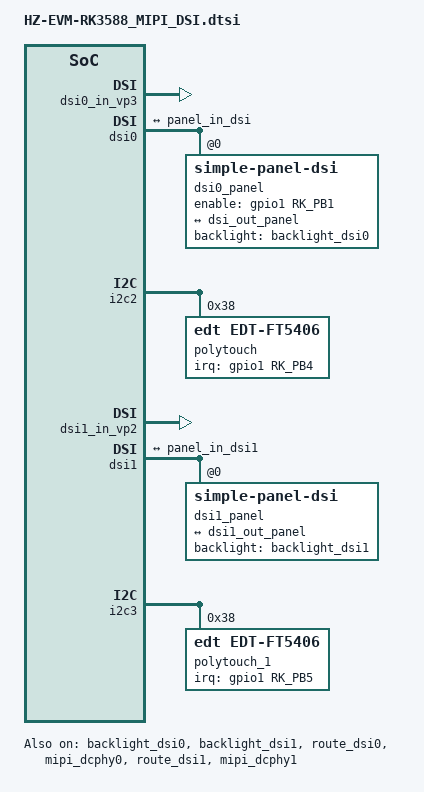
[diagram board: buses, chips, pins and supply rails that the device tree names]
// SPDX-License-Identifier: (GPL-2.0+ OR MIT)
/*
 * Copyright (c) 2024 Rockchip Electronics Co., Ltd.
 *
 */

/* 背光配置 */
&backlight_dsi0 {
	pwms = <&pwm0 0 20000 0>;
	status = "okay";
};

&backlight_dsi1 {
	pwms = <&pwm11 0 20000 0>;
	status = "okay";
};

/* MIPI DSI0 */
&route_dsi0{
	connect = <&vp3_out_dsi0>;
	status = "okay";
};

&dsi0_in_vp2 {
	status = "disabled";
};

&dsi0_in_vp3 {
	status = "okay";
};

&mipi_dcphy0{
	status = "okay";
};

&dsi0 {
	status = "okay";
	dsi0_panel: panel@0 {
		status = "okay";
		compatible = "simple-panel-dsi";
		reg = <0>;
		reset-delay-ms = <60>;
		enable-delay-ms = <60>;
		prepare-delay-ms = <60>;
		unprepare-delay-ms = <60>;
		disable-delay-ms = <60>;
		dsi,flags = <(MIPI_DSI_MODE_VIDEO | MIPI_DSI_MODE_VIDEO_BURST | 
			MIPI_DSI_MODE_LPM | MIPI_DSI_MODE_NO_EOT_PACKET)>;
		dsi,format = <MIPI_DSI_FMT_RGB888>;
		dsi,lanes  = <4>;
		panel-init-sequence = [
		];
		panel-exit-sequence = [
		];
		panel-width-mm = <68>;
		panel-height-mm = <121>;
		backlight = <&backlight_dsi0>;
		enable-gpios = <&gpio1 RK_PB1 GPIO_ACTIVE_HIGH>;

		display-timings {
			native-mode = <&panel_0_1024x600>;
			panel_0_1024x600: timings {
				hback-porch     = <48>;
				hfront-porch    = <40>;
				hactive			= <1024>;
				hsync-len		= <48>;
				vback-porch     = <48>;
				vfront-porch    = <40>;
				vactive         = <600>;
				vsync-len       = <4>;
				clock-frequency = <45000000>;
				vsync-active    = <0>;
				hsync-active    = <0>;
				de-active       = <0>;
				pixelclk-active = <0>;
			};
		};

		ports {
			#address-cells = <1>;
			#size-cells = <0>;
			port@0 {
				reg = <0>;
				panel_in_dsi: endpoint {
					remote-endpoint = <&dsi_out_panel>;
				};
			};
		};
	};

	ports {
		#address-cells = <1>;
		#size-cells = <0>;
		port@1 {
			reg = <1>;
			dsi_out_panel: endpoint {
				remote-endpoint = <&panel_in_dsi>;
			};
		};
	};
};

/* DSI0 触摸屏 */
&i2c2 {
	status = "okay";
	pinctrl-names = "default";
	pinctrl-0 = <&i2c2m4_xfer>;

	polytouch: edt-ft5x06@38{
		compatible = "edt,edt-ft5406", "edt,edt-ft5x06";
		reg = <0x38>;
		pinctrl-names = "defaults";
		pinctrl-0 = <&ft5406_1_pins>;
		interrupt-parent = <&gpio1>;
		interrupts = <RK_PB4 IRQ_TYPE_EDGE_FALLING>;
		touchscreen-size-x = <1024>;
		touchscreen-size-y = <600>;
		status = "okay";
	};
};

/* for RK3588-EVM MIPI DSI1 config 
   
*/
&route_dsi1 {
	connect = <&vp2_out_dsi1>;
	status = "okay";
};

&dsi1_in_vp2 {
	status = "okay";
};

&dsi1_in_vp3 {
	status = "disabled";
};

&mipi_dcphy1 {
	status = "okay";
};

&dsi1 {
	status = "okay";
	dsi1_panel: panel@0 {
		status = "okay";
		compatible = "simple-panel-dsi";
		reg = <0>;
		reset-delay-ms = <60>;
		enable-delay-ms = <60>;
		prepare-delay-ms = <60>;
		unprepare-delay-ms = <60>;
		disable-delay-ms = <60>;
		dsi,flags = <(MIPI_DSI_MODE_VIDEO | MIPI_DSI_MODE_VIDEO_BURST | 
			MIPI_DSI_MODE_LPM | MIPI_DSI_MODE_NO_EOT_PACKET)>;
		dsi,format = <MIPI_DSI_FMT_RGB888>;
		dsi,lanes  = <4>;
		panel-init-sequence = [
		];
		panel-exit-sequence = [
		];
		panel-width-mm = <68>;
		panel-height-mm = <121>;
		backlight = <&backlight_dsi1>;
		// enable-gpios = <&gpio1 RK_PB3 GPIO_ACTIVE_HIGH>;

		display-timings {
			native-mode = <&panel_1_1024x600>;
			panel_1_1024x600: timings {
				hback-porch     = <48>;
				hfront-porch    = <40>;
				hactive         = <1024>;
				hsync-len       = <48>;
				vback-porch     = <48>;
				vfront-porch    = <40>;
				vactive         = <600>;
				vsync-len       = <4>;
				clock-frequency = <45000000>;
				vsync-active    = <0>;
				hsync-active    = <0>;
				de-active       = <0>;
				pixelclk-active = <0>;
			};
		};

		ports {
			#address-cells = <1>;
			#size-cells = <0>;

			port@0 {
				reg = <0>;
				panel_in_dsi1: endpoint {
					remote-endpoint = <&dsi1_out_panel>;
				};
			};
		};
	};

	ports {
		#address-cells = <1>;
		#size-cells = <0>;

		port@1 {
			reg = <1>;
			dsi1_out_panel: endpoint {
				remote-endpoint = <&panel_in_dsi1>;
			};
		};
	};
};

/* DSI1 触摸屏 */
&i2c3 {
	status = "okay";
	pinctrl-names = "default";
	pinctrl-0 = <&i2c3m0_xfer>;

	polytouch_1: edt-ft5x06_1@38{
		compatible = "edt,edt-ft5406", "edt,edt-ft5x06";
		reg = <0x38>;
		pinctrl-names = "defaults";
		pinctrl-0 = <&ft5406_2_pins>;
		interrupt-parent = <&gpio1>;
		interrupts = <RK_PB5 IRQ_TYPE_EDGE_FALLING>;
		touchscreen-size-x = <1024>;
		touchscreen-size-y = <600>;
		status = "okay";
	};
};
